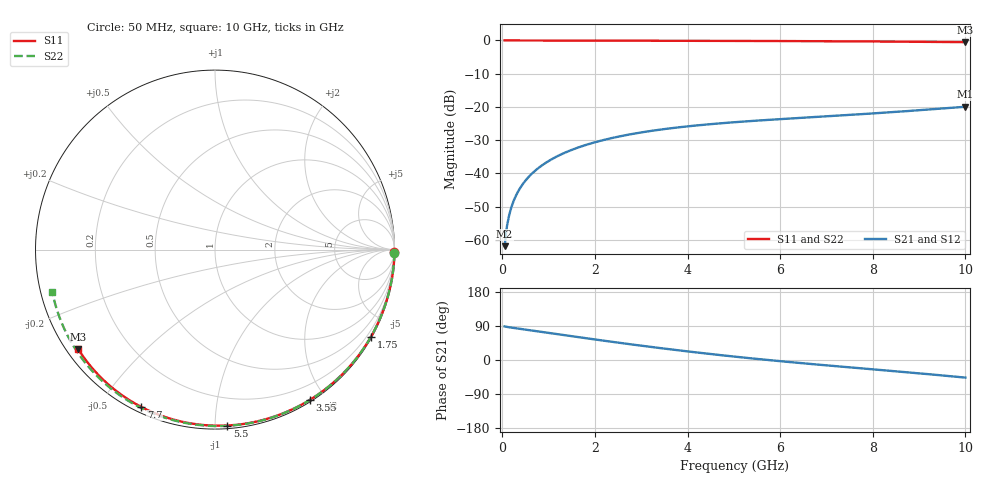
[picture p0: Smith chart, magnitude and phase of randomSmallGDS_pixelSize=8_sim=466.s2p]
! freq	dB(S11)	phase(S11)	dB(S12)	phase(S12)
!  dB(S21)	phase(S21)	dB(S22)	phase(S22)
!S-par simulation data
#  GHz  S  DB  R 50
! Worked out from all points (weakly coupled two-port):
!   200 points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, 50 MHz to 10 GHz, reference 50 ohm
!   highest |S21| = -19.95 dB at 10 GHz (marker M1); lowest = -61.9 dB at 50 MHz (marker M2)
!   lowest |S11| = -0.5 dB at 10 GHz (marker M3), VSWR 33.62, Z = 1.64 - j16.2 ohm
!   |S11| at or under -10 dB: nowhere
!   |S22| runs from -0.6 to 0.0 dB; largest |S21 - S12| = 0
!   S11 on the Smith chart (normalised r, x): 50 MHz: open; 1.75 GHz: 0.04, -3.84; 3.55 GHz: 0.02, -1.82; 5.5 GHz: 0.02, -1.07; 7.7 GHz: 0.02, -0.63; 10 GHz: 0.03, -0.32
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0.05  -0.00 -0.9  -61.90 88.6  -61.90 88.6  -0.00 -1.0
0.1  -0.00 -1.7  -55.93 87.4  -55.93 87.4  -0.00 -2.0
0.15  -0.00 -2.5  -52.46 86.3  -52.46 86.3  -0.00 -3.0
0.2  -0.00 -3.4  -50.01 85.4  -50.01 85.4  -0.00 -3.9
0.25  -0.00 -4.2  -48.10 84.5  -48.10 84.5  -0.00 -4.9
0.35  -0.00 -5.9  -45.23 82.8  -45.23 82.8  -0.01 -6.9
0.5  -0.01 -8.5  -42.18 80.3  -42.18 80.3  -0.01 -9.8
0.7  -0.01 -11.8  -39.30 76.8  -39.30 76.8  -0.02 -13.7
1  -0.02 -16.8  -36.28 71.5  -36.28 71.5  -0.02 -19.5
1.35  -0.03 -22.6  -33.78 65.4  -33.78 65.4  -0.03 -26.2
1.75  -0.04 -29.2  -31.69 58.5  -31.69 58.5  -0.05 -33.8
2.6  -0.06 -42.9  -28.68 44.2  -28.68 44.2  -0.07 -49.5
3.4  -0.08 -55.3  -26.85 31.6  -26.85 31.6  -0.09 -63.7
3.55  -0.09 -57.6  -26.57 29.3  -26.57 29.3  -0.10 -66.3
4.3  -0.11 -68.8  -25.43 18.5  -25.43 18.5  -0.12 -79.1
5.05  -0.13 -79.7  -24.56 8.5  -24.56 8.5  -0.15 -91.3
5.5  -0.15 -86.0  -24.12 2.8  -24.12 2.8  -0.17 -98.4
6.7  -0.21 -102.2  -23.09 -10.9  -23.09 -10.9  -0.24 -116.8
7.7  -0.28 -115.2  -22.23 -21.5  -22.23 -21.5  -0.32 -131.5
8.35  -0.34 -123.4  -21.63 -28.3  -21.63 -28.3  -0.38 -141.0
9.2  -0.42 -134.0  -20.79 -37.4  -20.79 -37.4  -0.47 -153.4
10  -0.52 -144.0  -19.95 -46.5  -19.95 -46.5  -0.57 -165.4
